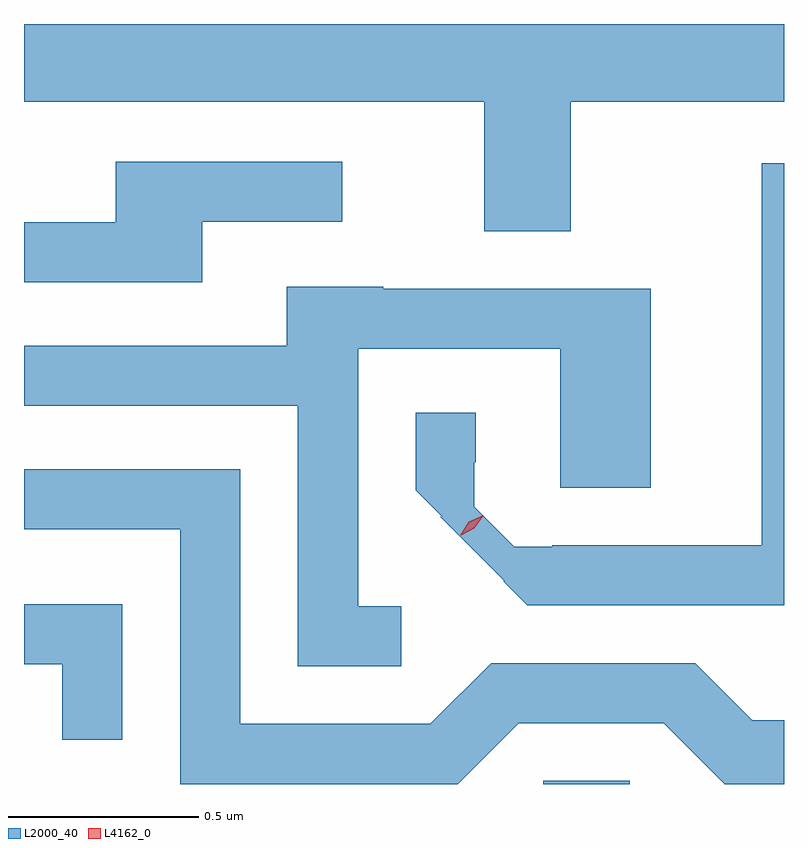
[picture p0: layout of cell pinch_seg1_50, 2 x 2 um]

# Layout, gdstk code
import gdstk
lib = gdstk.Library(unit=1e-6, precision=1e-09)
def R(c, l, rs):  # rectangles x0, y0, x1, y1
    for r in rs: c.add(gdstk.rectangle(r[:2], r[2:], *l))
def P(c, l, *ps):  # polygons
    for p in ps: c.add(gdstk.Polygon(p, *l))
L2000_40 = (2000, 40)
L4162_0 = (4162, 0)

pinch_seg1_50 = lib.new_cell('pinch_seg1_50')
R(pinch_seg1_50, L2000_40, [(1067.936,840.061,1068.164,840.069)])
P(pinch_seg1_50, L2000_40, [(1068.009,841.856),(1068.57,841.856),(1068.57,842.061),(1066.57,842.061),(1066.57,841.856),(1067.781,841.856),(1067.781,841.516),(1068.009,841.516)],
  [(1067.039,841.541),(1067.408,841.541),(1067.408,841.699),(1066.811,841.699),(1066.811,841.539),(1066.57,841.539),(1066.57,841.381),(1067.039,841.381)],
  [(1068.57,841.694),(1068.511,841.694),(1068.511,840.689),(1067.96,840.689),(1067.96,840.685),(1067.86,840.685),(1067.755,840.79),(1067.755,840.908),(1067.759,840.908),(1067.759,841.038),(1067.601,841.038),(1067.601,840.834),(1067.669,840.766),(1067.666,840.764),(1067.834,840.596),(1067.831,840.594),(1067.894,840.531),(1068.57,840.531)],
  [(1067.563,840.529),(1067.449,840.529),(1067.449,841.206),(1067.981,841.206),(1067.981,840.841),(1068.219,840.841),(1068.219,841.364),(1067.515,841.364),(1067.515,841.369),(1067.261,841.369),(1067.261,841.214),(1066.57,841.214),(1066.57,841.056),(1067.291,841.056),(1067.291,840.371),(1067.563,840.371)],
  [(1067.872,840.221),(1068.254,840.221),(1068.414,840.061),(1068.57,840.061),(1068.57,840.229),(1068.487,840.229),(1068.337,840.379),(1067.799,840.379),(1067.639,840.219),(1067.139,840.219),(1067.139,840.889),(1066.57,840.889),(1066.57,840.731),(1066.981,840.731),(1066.981,840.061),(1067.712,840.061)],
  [(1066.829,840.534),(1066.57,840.534),(1066.57,840.376),(1066.671,840.376),(1066.671,840.178),(1066.829,840.178)])
P(pinch_seg1_50, L4162_0, [(1067.719,840.716),(1067.719,840.717),(1067.742,840.749),(1067.778,840.768),(1067.778,840.768),(1067.778,840.767),(1067.755,840.734),(1067.72,840.716)],
  [(1067.723,840.723),(1067.723,840.724),(1067.741,840.751),(1067.771,840.764),(1067.772,840.764),(1067.772,840.764),(1067.754,840.736),(1067.724,840.723)])

lib.write_gds('pinch_seg1_50.gds')
